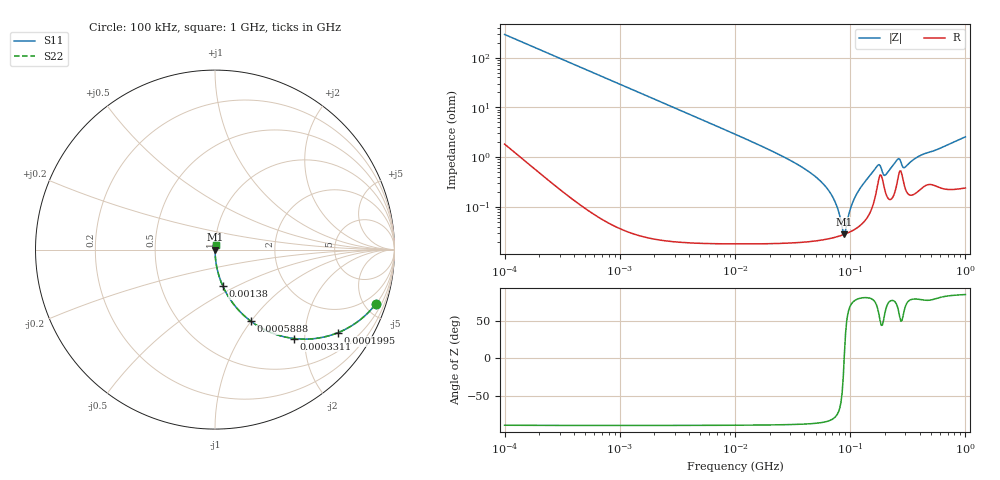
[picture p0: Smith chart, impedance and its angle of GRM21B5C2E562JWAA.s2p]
!Murata Part Number: GRM21B5C2E562JWAA
!These Parameters are Measured in Series Mode Connection
!Data Generated on Mar 30, 2021
!  o--ll--o
!Port1  Port2
!  o------o
!Operation Temp=25[degC], DC Bias Voltage=0[V]
!Freq. Start=100[kHz] Stop=1000[MHz] 401[Steps]
# Hz S RI R 50
!Freq.(Hz) S11(Real) S11(Imag) S21(Real) S21(Imag) S12(Real) S12(Imag) S22(Real) S22(Imag)
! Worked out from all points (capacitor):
!   401 points, 100 kHz to 1 GHz, reference 50 ohm
!   read as one part in series: C = 5.43 nF near 104.7 kHz
!   lowest |Z| = 28.3 mohm at 89.13 MHz (marker M1)
!   series resonance near 88.74 MHz, so ESL is about 590 pH
!   S11 on the Smith chart (normalised r, x): 100 kHz: 1.04, -5.86; 199.5 kHz: 1.01, -2.94; 331.1 kHz: 1.00, -1.77; 588.8 kHz: 1.00, -1.00; 1.38 MHz: 1.00, -0.43; 1 GHz: 1.00, +0.05
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100000  0.8943 -0.3044  0.1057 0.3044  0.1057 0.3044  0.8943 -0.3044
199526  0.6832 -0.4636  0.3168 0.4636  0.3168 0.4636  0.6832 -0.4636
331131  0.44 -0.4953  0.56 0.4953  0.56 0.4953  0.44 -0.4953
467735  0.2828 -0.4495  0.7172 0.4495  0.7172 0.4495  0.2828 -0.4495
588844  0.1993 -0.3988  0.8007 0.3988  0.8007 0.3988  0.1993 -0.3988
1380384  0.0435 -0.2033  0.9565 0.2033  0.9565 0.2033  0.0435 -0.2033
2187762  0.0179 -0.1317  0.9821 0.1317  0.9821 0.1317  0.0179 -0.1317
1e7  0.00102 -0.029  0.999 0.029  0.999 0.029  0.00102 -0.029
4.677351e7  0.000224 -0.00457  0.9998 0.00457  0.9998 0.00457  0.000224 -0.00457
6.91831e7  0.000239 -0.0017  0.9998 0.0017  0.9998 0.0017  0.000239 -0.0017
7.762471e7  0.000253 -0.00091  0.9997 0.00091  0.9997 0.00091  0.000253 -0.00091
8.51138e7  0.00027 -0.000285  0.9997 0.000285  0.9997 0.000285  0.00027 -0.000285
8.912509e7  0.000281 2.98e-05  0.9997 -2.98e-05  0.9997 -2.98e-05  0.000281 2.98e-05
1.071519e8  0.000345 0.00133  0.9997 -0.00133  0.9997 -0.00133  0.000345 0.00133
1.318257e8  0.00051 0.00299  0.9995 -0.00299  0.9995 -0.00299  0.00051 0.00299
1.737801e8  0.00293 0.00619  0.9971 -0.00619  0.9971 -0.00619  0.00293 0.00619
1.995262e8  0.00222 0.00366  0.9978 -0.00366  0.9978 -0.00366  0.00222 0.00366
2.187762e8  0.00144 0.00531  0.9986 -0.00531  0.9986 -0.00531  0.00144 0.00531
2.570396e8  0.00334 0.0083  0.9967 -0.0083  0.9967 -0.0083  0.00334 0.0083
3.019952e8  0.00229 0.00594  0.9977 -0.00594  0.9977 -0.00594  0.00229 0.00594
4.073803e8  0.00236 0.0106  0.9976 -0.0106  0.9976 -0.0106  0.00236 0.0106
1e9  0.00304 0.0254  0.997 -0.0254  0.997 -0.0254  0.00304 0.0254
